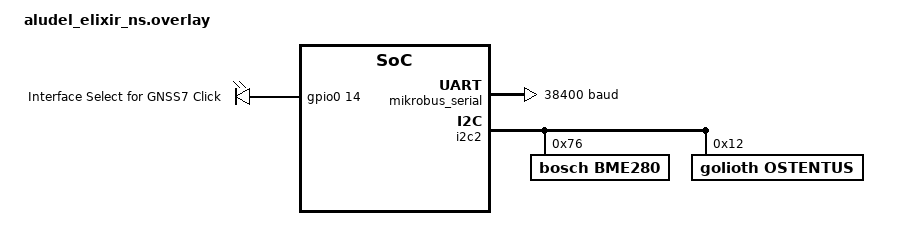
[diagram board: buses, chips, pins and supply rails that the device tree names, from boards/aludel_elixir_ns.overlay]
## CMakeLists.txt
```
# Copyright (c) 2022-2023 Golioth, Inc.
# SPDX-License-Identifier: Apache-2.0

cmake_minimum_required(VERSION 3.20.0)

find_package(Zephyr REQUIRED HINTS $ENV{ZEPHYR_BASE})

project(cold_chain)

include_directories(src/lib/inc)
add_compile_definitions(timegm=mktime)
target_sources(app PRIVATE src/lib/minmea/minmea.c)

target_sources(app PRIVATE src/main.c)
target_sources(app PRIVATE src/app_rpc.c)
target_sources(app PRIVATE src/app_settings.c)
target_sources(app PRIVATE src/app_state.c)
target_sources(app PRIVATE src/app_sensors.c)
```

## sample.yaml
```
# Copyright (c) 2022-2023 Golioth, Inc.
# SPDX-License-Identifier: Apache-2.0

sample:
  description: Golioth Cold Chain Tracker Reference Design
  name: cold_chain
common:
  harness: net
  platform_allow: >
    nrf9160dk_nrf9160_ns
  tags: golioth
```

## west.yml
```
# Copyright (c) 2022-2023 Golioth, Inc.
# SPDX-License-Identifier: Apache-2.0

manifest:
  version: 1.0

  projects:
    - name: golioth
      path: modules/lib/golioth-firmware-sdk
      revision: v0.21.0
      url: https://github.com/golioth/golioth-firmware-sdk.git
      west-commands: scripts/west-commands.yml
      submodules: true
      import:
        file: west-ncs.yml
        path-prefix: deps
        name-allowlist:
          - nrf
          - zephyr
          - cmsis_6
          - hal_nordic
          - mbedtls
          - mbedtls-nrf
          - mcuboot
          - net-tools
          - nrfxlib
          - oberon-psa-crypto
          - qcbor
          - segger
          - tfm-mcuboot
          - tinycrypt
          - trusted-firmware-m
          - zcbor

    - name: golioth-zephyr-boards
      path: deps/modules/lib/golioth-boards
      revision: v2.1.1
      url: https://github.com/golioth/golioth-zephyr-boards

    - name: libostentus
      path: deps/modules/lib/libostentus
      revision: v2.0.0
      url: https://github.com/golioth/libostentus

    - name: zephyr-network-info
      path: deps/modules/lib/network-info
      revision: v1.2.0
      url: https://github.com/golioth/zephyr-network-info

    - name: golioth-battery-monitor
      path: deps/modules/lib/battery-monitor
      revision: v1.1.0
      url: https://github.com/golioth/battery-monitor

    - name: minmea
      path: app/src/lib/minmea
      revision: 85439b97dd4984c5efb84ce954b85088e781dae8
      url: https://github.com/kosma/minmea.git

  self:
    path: app
```

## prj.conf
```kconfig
# Copyright (c) 2022-2023 Golioth, Inc.
# SPDX-License-Identifier: Apache-2.0

# Enable Golioth Firmware SDK
CONFIG_GOLIOTH_FIRMWARE_SDK=y

# Golioth services used in this app
CONFIG_GOLIOTH_FW_UPDATE=y
CONFIG_GOLIOTH_LIGHTDB_STATE=y
CONFIG_LOG_BACKEND_GOLIOTH=y
CONFIG_GOLIOTH_RPC=y
CONFIG_GOLIOTH_SETTINGS=y
CONFIG_GOLIOTH_STREAM=y

# Enable common sample library
CONFIG_GOLIOTH_SAMPLE_COMMON=y

# Configure Golioth SDK dependencies
CONFIG_ZVFS_EVENTFD_MAX=14
CONFIG_ZVFS_OPEN_MAX=23
CONFIG_LOG_PROCESS_THREAD_STACK_SIZE=1536
CONFIG_MBEDTLS_ENABLE_HEAP=y
CONFIG_MBEDTLS_HEAP_SIZE=10240
CONFIG_NETWORKING=y
CONFIG_NET_IPV4=y
CONFIG_COAP_EXTENDED_OPTIONS_LEN=y
CONFIG_COAP_EXTENDED_OPTIONS_LEN_VALUE=39

# Application
CONFIG_MAIN_STACK_SIZE=2048
CONFIG_NET_LOG=y
CONFIG_NET_SHELL=y
CONFIG_REBOOT=y
CONFIG_ZBUS=y

# Flash memory (etc.) for firmware upgrade
CONFIG_FLASH=y
CONFIG_FLASH_MAP=y
CONFIG_NVS=y
CONFIG_STREAM_FLASH=y
CONFIG_IMG_MANAGER=y
CONFIG_IMG_ERASE_PROGRESSIVELY=y
CONFIG_REBOOT=y

# The rest of the runtime credentials config
CONFIG_SETTINGS=y
CONFIG_SETTINGS_RUNTIME=y
CONFIG_GOLIOTH_SAMPLE_SETTINGS_AUTOLOAD=y
CONFIG_GOLIOTH_SAMPLE_SETTINGS_SHELL=y

# Misc.
CONFIG_JSON_LIBRARY=y

# Longer response length needed for network info
CONFIG_GOLIOTH_RPC_MAX_RESPONSE_LEN=512
CONFIG_I2C=y
CONFIG_SENSOR=y
CONFIG_GPIO=y

CONFIG_SERIAL=y
CONFIG_UART_INTERRUPT_DRIVEN=y

CONFIG_CBPRINTF_FP_SUPPORT=y
```

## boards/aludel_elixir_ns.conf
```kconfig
# Copyright (c) 2023 Golioth, Inc.
# SPDX-License-Identifier: Apache-2.0

# Battery Support
CONFIG_ALUDEL_BATTERY_MONITOR=y

# Turn on regulator to power click headers
CONFIG_REGULATOR=y

# Use a unique package name to use with Packages/Cohorts/Deployments
CONFIG_GOLIOTH_FW_UPDATE_PACKAGE_NAME="aludel_elixir"
```

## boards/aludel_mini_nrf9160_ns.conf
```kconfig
# Battery Support
CONFIG_ALUDEL_BATTERY_MONITOR=y

# Use a unique package name to use with Packages/Cohorts/Deployments
CONFIG_GOLIOTH_FW_UPDATE_PACKAGE_NAME="aludel_mini"
```

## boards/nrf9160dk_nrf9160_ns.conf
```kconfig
# Use a unique package name to use with Packages/Cohorts/Deployments
CONFIG_GOLIOTH_FW_UPDATE_PACKAGE_NAME="nrf9160dk"
```

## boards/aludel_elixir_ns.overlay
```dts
/ {
	aliases {
		gnss7-sel = &gnss7_sel;
	};

	gpio_logic {
		compatible = "gpio-leds";
		gnss7_sel: gnss7_sel {
			gpios = <&gpio0 14 GPIO_ACTIVE_HIGH>;
			label = "Interface Select for GNSS7 Click";
		};
	};
};

&mikrobus_serial {
	status = "okay";
	current-speed = <38400>;
};

&spi2 {
	status = "disabled";
};

&i2c2 {
	/* Needed for I2C writes used by libostentus */
	zephyr,concat-buf-size = <48>;

	bme280@76 {
		compatible = "bosch,bme280";
		reg = <0x76>;
	};

	ostentus@12 {
		status = "okay";
		compatible = "golioth,ostentus";
		reg = <0x12>;
	};
};
```

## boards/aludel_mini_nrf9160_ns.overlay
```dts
/ {
	aliases {
		gnss7-sel = &gnss7_sel;
	};

	gpio_logic {
		compatible = "gpio-leds";
		gnss7_sel: gnss7_sel {
			gpios = <&gpio0 14 GPIO_ACTIVE_HIGH>;
			label = "Interface Select for GNSS7 Click";
		};
	};
};

&mikrobus_serial {
	status = "okay";
	current-speed = <38400>;
};

&spi2 {
	status = "disabled";
};

&mikrobus_i2c {
	zephyr,concat-buf-size = <48>;

	bme280@76 {
		compatible = "bosch,bme280";
		reg = <0x76>;
	};

	ostentus@12 {
		status = "okay";
		compatible = "golioth,ostentus";
		reg = <0x12>;
	};
};
```

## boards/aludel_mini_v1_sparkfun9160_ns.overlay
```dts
/ {
	aliases {
		gnss7-sel = &gnss7_sel;
	};

	gpio_logic {
		compatible = "gpio-leds";
		gnss7_sel: gnss7_sel {
			gpios = <&gpio0 14 GPIO_ACTIVE_HIGH>;
			label = "Interface Select for GNSS7 Click";
		};
	};
};

&uart2 {
	status = "okay";
	current-speed = <38400>;
};

&spi2 {
	status = "disabled";
};

&i2c1 {
	zephyr,concat-buf-size = <48>;

	bme280@76 {
		compatible = "bosch,bme280";
		reg = <0x76>;
	};
};
```

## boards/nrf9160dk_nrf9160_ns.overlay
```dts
/ {
	aliases {
		click-uart = &arduino_serial;
		golioth-led = &led2;
		gnss7-sel = &gnss7_sel;
	};

	gpio_logic {
		compatible = "gpio-leds";
		gnss7_sel: gnss7_sel {
			gpios = <&gpio0 15 GPIO_ACTIVE_HIGH>;
			label = "Interface Select for GNSS7 Click";
		};
	};
};

&uart1 {
	status = "okay";
	current-speed = <38400>;
};


&arduino_i2c {
	/* Needed for I2C writes used by libostentus */
	zephyr,concat-buf-size = <48>;

	bme280@76 {
		compatible = "bosch,bme280";
		reg = <0x76>;
	};
};

&pinctrl {
	/*
	 * Arduino Uno provides the same SCL/SDA on two sets of pins, but the
	 * nRF9160-DK maps these pins to two different pairs of GPIO. When using
	 * the Arduino Uno Click Shield board, the P0.18/P0.19 pair must be used.
	 */
	i2c2_default: i2c2_default {
		group1 {
			psels = <NRF_PSEL(TWIM_SDA, 0, 18)>,
				<NRF_PSEL(TWIM_SCL, 0, 19)>;
		};
	};

	i2c2_sleep: i2c2_sleep {
		group1 {
			psels = <NRF_PSEL(TWIM_SDA, 0, 18)>,
				<NRF_PSEL(TWIM_SCL, 0, 19)>;
			low-power-enable;
		};
	};

	/*
	 * The default pin group includes RTS/CTS HW flow control, but the Arduino
	 * Uno Click Shield board does not connect these pins (only TX/RX are used).
	 * This keeps RX/TX on the same pins, but just removes RTS/CTS from the
	 * pin groups.
	 */
	uart1_default: uart1_default {
		group1 {
			psels = <NRF_PSEL(UART_TX, 0, 1)>,
				<NRF_PSEL(UART_RX, 0, 0)>;
		};
	};

	uart1_sleep: uart1_sleep {
		group1 {
			psels = <NRF_PSEL(UART_TX, 0, 1)>,
				<NRF_PSEL(UART_RX, 0, 0)>;
			low-power-enable;
		};
	};
};
```

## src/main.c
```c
/*
 * Copyright (c) 2022-2023 Golioth, Inc.
 *
 * SPDX-License-Identifier: Apache-2.0
 */

#include <zephyr/logging/log.h>
LOG_MODULE_REGISTER(golioth_cold_chain, LOG_LEVEL_DBG);

#include <app_version.h>
#include "app_rpc.h"
#include "app_settings.h"
#include "app_state.h"
#include "app_sensors.h"
#include <golioth/client.h>
#include <golioth/fw_update.h>
#include <samples/common/net_connect.h>
#include <samples/common/sample_credentials.h>
#include <zephyr/kernel.h>

#ifdef CONFIG_SOC_SERIES_NRF91X
#include <modem/lte_lc.h>
#endif
#ifdef CONFIG_LIB_OSTENTUS
#include <libostentus.h>
#include <libostentus_regmap.h>
static const struct device *o_dev = DEVICE_DT_GET_ANY(golioth_ostentus);
#endif
#ifdef CONFIG_ALUDEL_BATTERY_MONITOR
#include <battery_monitor.h>
#endif

#include <zephyr/drivers/gpio.h>

#ifdef CONFIG_MODEM_INFO
#include <modem/modem_info.h>
#endif

/* Current firmware version; update in VERSION */
static const char *_current_version =
	STRINGIFY(APP_VERSION_MAJOR) "." STRINGIFY(APP_VERSION_MINOR) "." STRINGIFY(APP_PATCHLEVEL);

static struct golioth_client *client;
K_SEM_DEFINE(connected, 0, 1);

static k_tid_t _system_thread = 0;

#if DT_NODE_EXISTS(DT_ALIAS(golioth_led))
static const struct gpio_dt_spec golioth_led = GPIO_DT_SPEC_GET(DT_ALIAS(golioth_led), gpios);
#endif /* DT_NODE_EXISTS(DT_ALIAS(golioth_led)) */
static const struct gpio_dt_spec user_btn = GPIO_DT_SPEC_GET(DT_ALIAS(sw1), gpios);
static struct gpio_callback button_cb_data;

/* forward declarations */
void golioth_connection_led_set(uint8_t state);

void wake_system_thread(void)
{
	k_wakeup(_system_thread);
}

static void on_client_event(struct golioth_client *client, enum golioth_client_event event,
			    void *arg)
{
	bool is_connected = (event == GOLIOTH_CLIENT_EVENT_CONNECTED);

	if (is_connected) {
		k_sem_give(&connected);
		golioth_connection_led_set(1);
	}
	LOG_INF("Golioth client %s", is_connected ? "connected" : "disconnected");
}

static void start_golioth_client(void)
{
	/* Get the client configuration from auto-loaded settings */
	const struct golioth_client_config *client_config = golioth_sample_credentials_get();

	/* Create and start a Golioth Client */
	client = golioth_client_create(client_config);

	/* Register Golioth on_connect callback */
	golioth_client_register_event_callback(client, on_client_event, NULL);

	/* Initialize DFU components */
	golioth_fw_update_init(client, _current_version);

	/*** Call Golioth APIs for other services in dedicated app files ***/

	/* Observe State service data */
	app_state_observe(client);

	/* Set Golioth Client for streaming sensor data */
	app_sensors_set_client(client);

	/* Register Settings service */
	app_settings_register(client);

	/* Register RPC service */
	app_rpc_register(client);
}

#ifdef CONFIG_SOC_SERIES_NRF91X

static void lte_handler(const struct lte_lc_evt *const evt)
{
	if (evt->type == LTE_LC_EVT_NW_REG_STATUS) {

		if ((evt->nw_reg_status == LTE_LC_NW_REG_REGISTERED_HOME) ||
		    (evt->nw_reg_status == LTE_LC_NW_REG_REGISTERED_ROAMING)) {

			/* Change the state of the Internet LED on Ostentus */
			IF_ENABLED(CONFIG_LIB_OSTENTUS, (ostentus_led_internet_set(o_dev, 1);));

			if (!client) {
				/* Create and start a Golioth Client */
				start_golioth_client();
			}
		}
	}
}

#endif /* CONFIG_SOC_SERIES_NRF91X */

#ifdef CONFIG_MODEM_INFO
static void log_modem_firmware_version(void)
{
	char sbuf[128];

	/* Initialize modem info */
	int err = modem_info_init();

	if (err) {
		LOG_ERR("Failed to initialize modem info: %d", err);
	}

	/* Log modem firmware version */
	modem_info_string_get(MODEM_INFO_FW_VERSION, sbuf, sizeof(sbuf));
	LOG_INF("Modem firmware version: %s", sbuf);
}
#endif

void button_pressed(const struct device *dev, struct gpio_callback *cb, uint32_t pins)
{
	LOG_DBG("Button pressed at %d", k_cycle_get_32());
	/* This function is an Interrupt Service Routine. Do not call functions that
	 * use other threads, or perform long-running operations here
	 */
	k_wakeup(_system_thread);
}

/* Set (unset) LED indicators for active Golioth connection */
void golioth_connection_led_set(uint8_t state)
{
	uint8_t pin_state = state ? 1 : 0;
	ARG_UNUSED(pin_state); /* silence warning if no LED/Ostentus present */

	/* Turn on Golioth logo LED once connected */
	IF_ENABLED(DT_NODE_EXISTS(DT_ALIAS(golioth_led)),
		(gpio_pin_set_dt(&golioth_led, pin_state);));

	/* Change the state of the Golioth LED on Ostentus */
	IF_ENABLED(CONFIG_LIB_OSTENTUS, (ostentus_led_golioth_set(o_dev, pin_state);));
}

int main(void)
{
	int err;

	LOG_DBG("Start Golioth Cold Chain Asset Tracker");

	LOG_INF("Firmware version: %s", _current_version);
	IF_ENABLED(CONFIG_MODEM_INFO, (log_modem_firmware_version();));

	app_sensors_init();

	/* Update Ostentus LEDS using bitmask (Power On and Battery)*/
	IF_ENABLED(CONFIG_LIB_OSTENTUS, (
		/* Reset Ostentus and pause for reboot */
		ostentus_reset(o_dev);
		k_msleep(300);

		/* Read firmware version from faceplate */
		char *o_version = (char *)calloc(32, sizeof(char));

		ostentus_version_get(o_dev, o_version, 32);
		LOG_INF("Ostentus reports firmware version: %s", o_version);
		free(o_version);

		/* Update Ostentus LEDS using bitmask (Power On and Battery) */
		ostentus_led_bitmask(o_dev, LED_POW | LED_BAT);

		/* Show Golioth Logo on Ostentus ePaper screen */
		ostentus_show_splash(o_dev);
	));

	/* Get system thread id so loop delay change event can wake main */
	_system_thread = k_current_get();

#if DT_NODE_EXISTS(DT_ALIAS(golioth_led))
	/* Initialize Golioth logo LED */
	err = gpio_pin_configure_dt(&golioth_led, GPIO_OUTPUT_INACTIVE);
	if (err) {
		LOG_ERR("Unable to configure LED for Golioth Logo");
	}
#endif /* #if DT_NODE_EXISTS(DT_ALIAS(golioth_led)) */

#ifdef CONFIG_SOC_SERIES_NRF91X
	/* Start LTE asynchronously if the nRF9160 is used.
	 * Golioth Client will start automatically when LTE connects
	 */

	LOG_INF("Connecting to LTE, this may take some time...");
	lte_lc_connect_async(lte_handler);

#else
	/* If nRF9160 is not used, start the Golioth Client and block until connected */

	/* Run WiFi/DHCP if necessary */
	if (IS_ENABLED(CONFIG_GOLIOTH_SAMPLE_COMMON)) {
		net_connect();
	}

	/* Start Golioth client */
	start_golioth_client();

	/* Block until connected to Golioth */
	k_sem_take(&connected, K_FOREVER);
#endif /* CONFIG_SOC_SERIES_NRF91X */

	/* Set up user button */
	err = gpio_pin_configure_dt(&user_btn, GPIO_INPUT);
	if (err) {
		LOG_ERR("Error %d: failed to configure %s pin %d", err, user_btn.port->name,
			user_btn.pin);
		return err;
	}

	err = gpio_pin_interrupt_configure_dt(&user_btn, GPIO_INT_EDGE_TO_ACTIVE);
	if (err) {
		LOG_ERR("Error %d: failed to configure interrupt on %s pin %d", err,
			user_btn.port->name, user_btn.pin);
		return err;
	}

	gpio_init_callback(&button_cb_data, button_pressed, BIT(user_btn.pin));
	gpio_add_callback(user_btn.port, &button_cb_data);

	IF_ENABLED(CONFIG_LIB_OSTENTUS,(
		/* Set up a slideshow on Ostentus
		 *  - add up to 256 slides
		 *  - use the enum in app_sensors.h to add new keys
		 *  - values are updated using these keys (see app_sensors.c)
		 */
		ostentus_slide_add(o_dev, SLIDE_LAT, LABEL_LAT, strlen(LABEL_LAT));
		ostentus_slide_add(o_dev, SLIDE_LON, LABEL_LON, strlen(LABEL_LON));
		ostentus_slide_add(o_dev, SLIDE_TEM, LABEL_TEM, strlen(LABEL_TEM));
		IF_ENABLED(CONFIG_ALUDEL_BATTERY_MONITOR, (
			ostentus_slide_add(o_dev,
					   BATTERY_V,
					   LABEL_BATTERY,
					   strlen(LABEL_BATTERY));
			ostentus_slide_add(o_dev,
					   BATTERY_PCT,
					   LABEL_BATTERY,
					   strlen(LABEL_BATTERY));
		));
		ostentus_slide_add(o_dev, FIRMWARE, LABEL_FIRMWARE, strlen(LABEL_FIRMWARE));

		/* Set the title of the Ostentus summary slide (optional) */
		ostentus_summary_title(o_dev, SUMMARY_TITLE, strlen(SUMMARY_TITLE));

		/* Update the Firmware slide with the firmware version */
		ostentus_slide_set(o_dev, FIRMWARE, (char *)_current_version,
			  strlen(_current_version));

		/* Start Ostentus slideshow with 30 second delay between slides */
		ostentus_slideshow(o_dev, 30000);
	));

	while (true) {
		app_sensors_read_and_stream();

		k_sleep(K_SECONDS(get_loop_delay_s()));
	}
}
```

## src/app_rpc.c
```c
/*
 * Copyright (c) 2022 Golioth, Inc.
 *
 * SPDX-License-Identifier: Apache-2.0
 */

#include <zephyr/logging/log.h>
#include <zephyr/logging/log_ctrl.h>
LOG_MODULE_REGISTER(app_rpc, LOG_LEVEL_DBG);

#include <net/golioth/system_client.h>
#include <net/golioth/rpc.h>
#include <zephyr/logging/log_ctrl.h>
#include <zephyr/sys/reboot.h>

#include <network_info.h>
#include "app_rpc.h"

static struct golioth_client *client;

static void reboot_work_handler(struct k_work *work)
{
	for (int8_t i = 5; i >= 0; i--) {
		if (i) {
			LOG_INF("Rebooting in %d seconds...", i);
		}
		k_sleep(K_SECONDS(1));
	}

	/* Sync logs before reboot */
	LOG_PANIC();

	sys_reboot(SYS_REBOOT_COLD);
}
K_WORK_DEFINE(reboot_work, reboot_work_handler);

static enum golioth_rpc_status on_get_network_info(zcbor_state_t *request_params_array,
						   zcbor_state_t *response_detail_map,
						   void *callback_arg)
{
	network_info_add_to_map(response_detail_map);

	return GOLIOTH_RPC_OK;
}

static enum golioth_rpc_status on_set_log_level(zcbor_state_t *request_params_array,
						zcbor_state_t *response_detail_map,
						void *callback_arg)
{
	double param_0;
	uint8_t log_level;
	bool ok;

	LOG_WRN("on_set_log_level");

	ok = zcbor_float_decode(request_params_array, &param_0);
	if (!ok) {
		LOG_ERR("Failed to decode array item");
		return GOLIOTH_RPC_INVALID_ARGUMENT;
	}

	log_level = (uint8_t)param_0;

	if ((log_level < 0) || (log_level > LOG_LEVEL_DBG)) {

		LOG_ERR("Requested log level is out of bounds: %d", log_level);
		return GOLIOTH_RPC_INVALID_ARGUMENT;
	}

	int source_id = 0;
	char *source_name;

	while (1) {
		source_name = (char *)log_source_name_get(0, source_id);
		if (source_name == NULL) {
			break;
		}

		log_filter_set(NULL, 0, source_id, log_level);
		++source_id;
	}

	LOG_WRN("Log levels for %d modules set to: %d", source_id, log_level);

	ok = zcbor_tstr_put_lit(response_detail_map, "log_modules") &&
	     zcbor_float64_put(response_detail_map, (double)source_id);

	return GOLIOTH_RPC_OK;
}

static enum golioth_rpc_status on_reboot(zcbor_state_t *request_params_array,
					 zcbor_state_t *response_detail_map,
					 void *callback_arg)
{
	/* Use work queue so this RPC can return confirmation to Golioth */
	k_work_submit(&reboot_work);

	return GOLIOTH_RPC_OK;
}

static void rpc_log_if_register_failure(int err)
{
	if (err) {
		LOG_ERR("Failed to register RPC: %d", err);
	}
}

int app_rpc_init(struct golioth_client *state_client)
{
	client = state_client;
	int err = app_rpc_register(client);
	return err;
}

int app_rpc_observe(void)
{
	int err = golioth_rpc_observe(client);

	if (err) {
		LOG_ERR("Failed to observe RPC: %d", err);
	}
	return err;
}

int app_rpc_register(struct golioth_client *rpc_client)
{
	int err;

	err = golioth_rpc_register(rpc_client, "get_network_info", on_get_network_info, NULL);
	rpc_log_if_register_failure(err);

	err = golioth_rpc_register(rpc_client, "reboot", on_reboot, NULL);
	rpc_log_if_register_failure(err);

	err = golioth_rpc_register(rpc_client, "set_log_level", on_set_log_level, NULL);
	rpc_log_if_register_failure(err);

	return err;
}
```

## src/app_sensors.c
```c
/*
 * Copyright (c) 2022-2023 Golioth, Inc.
 *
 * SPDX-License-Identifier: Apache-2.0
 */

#include <zephyr/logging/log.h>
LOG_MODULE_REGISTER(app_sensors, LOG_LEVEL_DBG);

#include <golioth/client.h>
#include <golioth/stream.h>
#include <zephyr/device.h>
#include <zephyr/drivers/gpio.h>
#include <zephyr/kernel.h>
#include <zephyr/drivers/sensor.h>
#include <zephyr/drivers/uart.h>
#include <zephyr/zbus/zbus.h>

#include "app_sensors.h"
#include "app_settings.h"
#include "lib/minmea/minmea.h"
#include <stdio.h>
#include <stdlib.h>

#ifdef CONFIG_LIB_OSTENTUS
#include <libostentus.h>
static const struct device *o_dev = DEVICE_DT_GET_ANY(golioth_ostentus);
#endif
#ifdef CONFIG_ALUDEL_BATTERY_MONITOR
#include <battery_monitor.h>
#endif

#define UART_DEVICE_NODE DT_ALIAS(click_uart)
static const struct device *const uart_dev = DEVICE_DT_GET(UART_DEVICE_NODE);

#define UART_SEL DT_ALIAS(gnss7_sel)
static const struct gpio_dt_spec gnss7_sel = GPIO_DT_SPEC_GET(UART_SEL, gpios);

#define MAX_BATCH_STREAM_SIZE 1000
#define MIN_REMAINING_FOR_BATCH_UPLOAD 128
#define NMEA_SIZE 128

/* Max number of parsed readings to queue between uploads (96 bytes each) */
#define MAX_QUEUED_DATA 500
#define GPS_BATCH_STREAM_TIMEOUT_S 2

/* GPS stream endpoint on Golioth */
#define GPS_ENDP "gps"

struct weather_data {
	struct sensor_value tem;
	struct sensor_value pre;
	struct sensor_value hum;
};

struct cold_chain_data {
	struct weather_data weather;
	struct minmea_sentence_rmc frame;
};

#define ERROR_VAL1 999
#define ERROR_VAL2 999999

ZBUS_CHAN_DEFINE(weather_chan, struct weather_data, NULL, NULL, ZBUS_OBS_DECLARE(),
		 ZBUS_MSG_INIT(.tem.val1 = ERROR_VAL1, .tem.val2 = ERROR_VAL2,
			       .pre.val1 = ERROR_VAL1, .pre.val2 = ERROR_VAL2,
			       .hum.val1 = ERROR_VAL1, .hum.val2 = ERROR_VAL2));

static const struct sensor_value reading_error = {.val1 = ERROR_VAL1, .val2 = ERROR_VAL2};

/* Processed data waiting to be sent to Golioth */
K_MSGQ_DEFINE(coldchain_msgq, sizeof(struct cold_chain_data), MAX_QUEUED_DATA, 4);

static char rx_buf[NMEA_SIZE];
static int rx_buf_pos;

static struct golioth_client *client;
/* Add Sensor structs here */
const struct device *weather_dev;

/* Thread reads weather sensor and publishes latest data on zbus */
K_SEM_DEFINE(bme280_initialized_sem, 0, 1); /* Wait until sensor is ready */

void weather_sensor_data_fetch(void)
{
	int err;

	err = sensor_sample_fetch(weather_dev);
	if (err != 0) {
		LOG_ERR("Failed to fetch sensor data: %d", err);
		return;
	}

	struct weather_data reading;

	err = sensor_channel_get(weather_dev, SENSOR_CHAN_AMBIENT_TEMP, &reading.tem);
	if (err != 0) {
		LOG_ERR("Failed to get sensor channel %u: %d", SENSOR_CHAN_AMBIENT_TEMP, err);
		return;
	}

	err = sensor_channel_get(weather_dev, SENSOR_CHAN_PRESS, &reading.pre);
	if (err != 0) {
		LOG_ERR("Failed to get sensor channel %u: %d", SENSOR_CHAN_PRESS, err);
		return;
	}

	err = sensor_channel_get(weather_dev, SENSOR_CHAN_HUMIDITY, &reading.hum);
	if (err != 0) {
		LOG_ERR("Failed to get sensor channel %u: %d", SENSOR_CHAN_HUMIDITY, err);
		return;
	}

	err = zbus_chan_pub(&weather_chan, &reading, K_MSEC(100));
	if (err != 0) {
		LOG_ERR("Failed to publish sensor data: %d", err);
		return;
	}
}

#define WEATHER_STACK 1024

extern void weather_sensor_thread(void *d0, void *d1, void *d2)
{
	/* Block until sensor is available */
	k_sem_take(&bme280_initialized_sem, K_FOREVER);
	while (1) {
		weather_sensor_data_fetch();
		k_sleep(K_SECONDS(1));
	}
}

K_THREAD_DEFINE(weather_sensor_tid, WEATHER_STACK, weather_sensor_thread, NULL, NULL, NULL,
		K_LOWEST_APPLICATION_THREAD_PRIO, 0, 0);

/** @brief Check if a given time delay has passed
 *
 * The stored start time is used to generate a delta time from the system clock. If the delta time
 * is smaller than the given delay, this function returns false. If the result is true, the stored
 * value may be replaced by the current system time using the update param.
 *
 * @param stored_start_time stored system time in ms used as start time
 * @param delay_s delay (in seconds)
 * @param update_stored_time if function if returning true, this enables current time to replace the
 * stored time value.
 *
 * @return true if gps_delay_s has passed since last GPS reading, otherwise false
 */
static bool target_time_elapsed(uint64_t *stored_start_time, uint32_t delay_s,
				bool update_stored_time)
{
	uint64_t wait_for = *stored_start_time;

	if (k_uptime_delta(&wait_for) >= ((uint64_t)delay_s * 1000)) {
		if (update_stored_time) {
			/* wait_for now contains the current timestamp. Store this for the next
			 * reading.
			 */
			*stored_start_time = wait_for; }
		return true;
	}
	return false;
}

#ifdef CONFIG_LIB_OSTENTUS
static void update_ostentus_gps(float lat, float lon, char *tem_str, char tem_len)
{
	char lat_str[12];
	char lon_str[12];

	snprintk(lat_str, sizeof(lat_str), "%f", (double) lat);
	snprintk(lon_str, sizeof(lon_str), "%f", (double) lon);

	ostentus_slide_set(o_dev, SLIDE_LAT, lat_str, strlen(lat_str));
	ostentus_slide_set(o_dev, SLIDE_LON, lon_str, strlen(lon_str));
	ostentus_slide_set(o_dev, SLIDE_TEM, tem_str, tem_len);
}
#endif

/* Raw string data waiting for the NMEA parser to run */
K_MSGQ_DEFINE(reading_msgq, NMEA_SIZE, 16, 4);

#define PARSER_STACK 1024

extern void nmea_parser_thread(void *d0, void *d1, void *d2)
{
	char raw_readings[NMEA_SIZE];
	enum minmea_sentence_id sid;
	bool sat_lock = false;
	int err;

	/* timestamp when the previous GPS value was stored */
	uint64_t last_gps = 0;

	/* timestamp when the previous satellite lock message was sent */
	uint64_t last_sat_msg = 0;

	while (1) {
		k_msgq_get(&reading_msgq, &raw_readings, K_FOREVER);
		sid = minmea_sentence_id(raw_readings, false);

		if (!sat_lock && sid == MINMEA_SENTENCE_GSV) {

			if (target_time_elapsed(&last_sat_msg, 3, true)) {
				struct minmea_sentence_gsv lock_frame;

				minmea_parse_gsv(&lock_frame, raw_readings);
				LOG_INF("Awaiting GPS lock. Satellite count: %d",
					lock_frame.total_sats);
			}
		}

		if (sid != MINMEA_SENTENCE_RMC) {
			/* We only care about RMC sentences because that's the data we need */
			continue;
		}

		struct cold_chain_data cc_data;
		bool success = minmea_parse_rmc(&cc_data.frame, raw_readings);

		if (!success) {
			/* Failed to partse NMEA sentence */
			continue;
		}

		sat_lock = cc_data.frame.valid;

		if (!sat_lock) {
			continue;
		}

		if (!target_time_elapsed(&last_gps, get_gps_delay_s(), true)) {
			/* gps_delay_s has not elapsed since last reading */
			continue;
		}

		err = zbus_chan_read(&weather_chan, &cc_data.weather, K_MSEC(50));
		if (err) {
			LOG_ERR("Cannot access weather data: %d", err);
			/* Use an obvious error value so these are not used uninitialized */
			cc_data.weather.tem = reading_error;
			cc_data.weather.pre = reading_error;
			cc_data.weather.hum = reading_error;
		}

		err = k_msgq_put(&coldchain_msgq, &cc_data, K_MSEC(1));

		if (err) {
			LOG_ERR("Unable to queue parsed coldchain data: %d", err);
		} else {
			char tem_str[12];

			snprintk(tem_str, sizeof(tem_str), "%d.%02dc", cc_data.weather.tem.val1,
				 cc_data.weather.tem.val2 / 10000);

			LOG_DBG("nmea: %s t: %s", raw_readings, tem_str);

			IF_ENABLED(CONFIG_LIB_OSTENTUS, (
				update_ostentus_gps(minmea_tocoord(&cc_data.frame.latitude),
						    minmea_tocoord(&cc_data.frame.longitude),
						    tem_str, strlen(tem_str));
			));

			uint32_t msg_cnt = k_msgq_num_used_get(&coldchain_msgq);

			if (msg_cnt > 0 && (msg_cnt % 5 == 0)) {
				LOG_INF("%d readings queued; %d slots remain", msg_cnt,
					MAX_QUEUED_DATA - msg_cnt);
			}
		}
	}
}

K_THREAD_DEFINE(nmea_parser_tid, PARSER_STACK, nmea_parser_thread, NULL, NULL, NULL,
		K_LOWEST_APPLICATION_THREAD_PRIO, 0, 0);

/* UART callback */
void serial_cb(const struct device *dev, void *user_data)
{
	uint8_t c;

	if (!uart_irq_update(uart_dev)) {
		return;
	}

	while (uart_irq_rx_ready(uart_dev)) {

		uart_fifo_read(uart_dev, &c, 1);

		if ((c == '\n') && rx_buf_pos > 0) {
			/* terminate string */
			if (rx_buf_pos == (NMEA_SIZE - 1)) {
				rx_buf[rx_buf_pos] = '\0';
			} else {
				rx_buf[rx_buf_pos] = '\n';
				rx_buf[rx_buf_pos + 1] = '\0';
			}

			if (k_msgq_put(&reading_msgq, &rx_buf, K_NO_WAIT) != 0) {
				LOG_ERR("Message queue full, dropping reading.");
			}

			/* reset the buffer (it was copied to the msgq) */
			rx_buf_pos = 0;
		} else if (rx_buf_pos < (sizeof(rx_buf) - 1)) {
			rx_buf[rx_buf_pos++] = c;
		}
		/* else: characters beyond buffer size are dropped */
	}
}

/*
 * Get a device structure from a devicetree node with compatible
 * "bosch,bme280". (If there are multiple, just pick one.)
 */
static const struct device *get_bme280_device(void)
{
	const struct device *const bme_dev = DEVICE_DT_GET_ANY(bosch_bme280);

	if (bme_dev == NULL) {
		/* No such node, or the node does not have status "okay". */
		LOG_ERR("\nError: no device found.");
		return NULL;
	}

	if (!device_is_ready(bme_dev)) {
		LOG_ERR("Error: Device \"%s\" is not ready; "
			"check the driver initialization logs for errors.",
			bme_dev->name);
		return NULL;
	}

	LOG_DBG("Found device \"%s\", getting sensor data", bme_dev->name);

	/* Give semaphore to signal sensor is ready for reading */
	k_sem_give(&bme280_initialized_sem);
	return bme_dev;
}

static void get_sensor_string_or_empty(struct sensor_value v, char *buf, uint8_t buf_len, char *key)
{
	if ((v.val1 == reading_error.val1) && (v.val2 == reading_error.val2)) {
		buf[0] = '\0';
	} else {
		snprintk(buf, buf_len, ",\"%s\":%d.%06d", key, v.val1, abs(v.val2));
	}
}

static void batch_upload_to_golioth(void)
{
	uint32_t msg_cnt = k_msgq_num_used_get(&coldchain_msgq);

	if (msg_cnt == 0) {
		return;
	}

	LOG_INF("Uploading cached data to Golioth");

	/* Packets will be no larger than 1024 characters
	 *
	 * {"lat":-90.123456,"lon":-180.123456,"time":"2023-09-18T22:52:42.000Z","tem":-100.123456,
	 *  "pre":-100.123456,"hum":-100.123456}"
	 *
	 * Round up for the comma, and overall open/close bracket.
	 * Size the overall buffer to be smaller than 1024 which is most efficient for Golioth
	 */
	static const char r_fmt[] = "{\"lat\":%f,\"lon\":%f,\""
				    "time\":\"20%02d-%02d-%02dT%02d:%02d:%02d.%03dZ\""
				    "%s%s%s}";
	uint16_t remaining_len;
	uint16_t tot_pushed = 0;
	struct cold_chain_data cached_data;

	char *buf = (char *) malloc(sizeof(char) * MAX_BATCH_STREAM_SIZE);

	if (!buf) {
		LOG_ERR("Enable to allocate memory for batch upload");
		return;
	}

	snprintk(buf, MAX_BATCH_STREAM_SIZE, "%s", "[");

	while (msg_cnt > 0) {
		int err = k_msgq_get(&coldchain_msgq, &cached_data, K_MSEC(10));

		if (err) {
			LOG_ERR("Error fetching cached reading: %d", err);
			goto free_after_stream;
		}

		char tem_str[19], pre_str[19], hum_str[19];

		get_sensor_string_or_empty(cached_data.weather.tem, tem_str, sizeof(tem_str),
					   "tem");
		get_sensor_string_or_empty(cached_data.weather.pre, pre_str, sizeof(pre_str),
					   "pre");
		get_sensor_string_or_empty(cached_data.weather.hum, hum_str, sizeof(hum_str),
					   "hum");

		snprintk(buf + strlen(buf), MAX_BATCH_STREAM_SIZE - strlen(buf), r_fmt,
			 (double) minmea_tocoord(&cached_data.frame.latitude),
			 (double) minmea_tocoord(&cached_data.frame.longitude),
			 cached_data.frame.date.year, cached_data.frame.date.month,
			 cached_data.frame.date.day, cached_data.frame.time.hours,
			 cached_data.frame.time.minutes, cached_data.frame.time.seconds,
			 cached_data.frame.time.microseconds,
			 tem_str, pre_str, hum_str);

		msg_cnt = k_msgq_num_used_get(&coldchain_msgq);
		remaining_len = MAX_BATCH_STREAM_SIZE - strlen(buf) - 1;
		tot_pushed++;

		if (msg_cnt == 0 || remaining_len < MIN_REMAINING_FOR_BATCH_UPLOAD) {
			snprintk(buf + strlen(buf), MAX_BATCH_STREAM_SIZE - strlen(buf), "%s", "]");

			int err = golioth_stream_set_sync(client,
							  GPS_ENDP,
							  GOLIOTH_CONTENT_TYPE_JSON,
							  buf,
							  strlen(buf),
							  GPS_BATCH_STREAM_TIMEOUT_S);

			if (err) {
				LOG_ERR("Failed to send sensor data to Golioth: %d", err);
				goto free_after_stream;
			}

			if (msg_cnt) {
				snprintk(buf, MAX_BATCH_STREAM_SIZE, "%s", "[");
			}
		} else {
			snprintk(buf + strlen(buf), MAX_BATCH_STREAM_SIZE - strlen(buf), "%s", ",");
		}
	}

	LOG_INF("Pushed %d cached readings up to Golioth.", tot_pushed);

free_after_stream:
	free(buf);

}

/* This will be called by the main() loop */
/* Do all of your work here! */
void app_sensors_read_and_stream(void)
{
	/* Golioth custom hardware for demos */
	IF_ENABLED(CONFIG_ALUDEL_BATTERY_MONITOR, (
		read_and_report_battery(client);
		IF_ENABLED(CONFIG_LIB_OSTENTUS, (
			ostentus_slide_set(o_dev,
					   BATTERY_V,
					   get_batt_v_str(),
					   strlen(get_batt_v_str()));
			ostentus_slide_set(o_dev,
					   BATTERY_PCT,
					   get_batt_pct_str(),
					   strlen(get_batt_pct_str()));
		));
	));

	if (golioth_client_is_connected(client)) {
		batch_upload_to_golioth();
	}
}

void app_sensors_set_client(struct golioth_client *sensors_client)
{
	client = sensors_client;
}

void app_sensors_init(void)
{
	LOG_INF("Initializing UART");

	int err = gpio_pin_configure_dt(&gnss7_sel, GPIO_OUTPUT_ACTIVE);

	if (err < 0) {
		LOG_ERR("Unable to configure GNSS SEL Pin: %d", err);
	}

	/* configure interrupt and callback to receive data */
	uart_irq_callback_user_data_set(uart_dev, serial_cb, NULL);
	uart_irq_rx_enable(uart_dev);

	weather_dev = get_bme280_device();
	weather_sensor_data_fetch();
}
```

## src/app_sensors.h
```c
/*
 * Copyright (c) 2022-2023 Golioth, Inc.
 *
 * SPDX-License-Identifier: Apache-2.0
 */

#ifndef __APP_SENSORS_H__
#define __APP_SENSORS_H__

#include <golioth/client.h>

void app_sensors_set_client(struct golioth_client *sensors_client);
void app_sensors_read_and_stream(void);
void app_sensors_init(void);

#define LABEL_LAT	"Latitude"
#define LABEL_LON	"Longitude"
#define LABEL_TEM	"Temperature"
#define LABEL_BATTERY	"Battery"
#define LABEL_FIRMWARE	"Firmware"
#define SUMMARY_TITLE	"Cold Chain"

/**
 * Each Ostentus slide needs a unique key. You may add additional slides by
 * inserting elements with the name of your choice to this enum.
 */
typedef enum {
	SLIDE_LAT,
	SLIDE_LON,
	SLIDE_TEM,
#ifdef CONFIG_ALUDEL_BATTERY_MONITOR
	BATTERY_V,
	BATTERY_PCT,
#endif
	FIRMWARE
} slide_key;

#endif /* __APP_SENSORS_H__ */
```

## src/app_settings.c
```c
/*
 * Copyright (c) 2022-2023 Golioth, Inc.
 *
 * SPDX-License-Identifier: Apache-2.0
 */

#include <zephyr/logging/log.h>
LOG_MODULE_REGISTER(app_settings, LOG_LEVEL_DBG);

#include <golioth/client.h>
#include <golioth/settings.h>
#include "main.h"
#include "app_settings.h"

/* How long to wait between uploading to Golioth */
static int32_t _loop_delay_s = 5;
#define LOOP_DELAY_S_MAX 43200
#define LOOP_DELAY_S_MIN 1

/* How long to wait between GPS readings */
static int32_t _gps_delay_s = 3;
#define GPS_DELAY_S_MAX 43200
#define GPS_DELAY_S_MIN 0

int32_t get_loop_delay_s(void)
{
	return _loop_delay_s;
}

int32_t get_gps_delay_s(void) {
	return _gps_delay_s;
}

static enum golioth_settings_status on_loop_delay_setting(int32_t new_value, void *arg)
{
	/* Only update if value has changed */
	if (_loop_delay_s == new_value) {
		LOG_DBG("Received LOOP_DELAY_S already matches local value.");
		return GOLIOTH_SETTINGS_SUCCESS;
	}

	_loop_delay_s = new_value;
	LOG_INF("Set loop delay to %i seconds", new_value);
	wake_system_thread();
	return GOLIOTH_SETTINGS_SUCCESS;
}

static enum golioth_settings_status on_gps_delay_setting(int32_t new_value, void *arg)
{
	/* Only update if value has changed */
	if (_gps_delay_s == new_value) {
		LOG_DBG("Received GPS_DELAY_S already matches local value.");
		return GOLIOTH_SETTINGS_SUCCESS;
	}

	_gps_delay_s = new_value;
	LOG_INF("Set gps delay to %i seconds", new_value);
	wake_system_thread();
	return GOLIOTH_SETTINGS_SUCCESS;
}

void app_settings_register(struct golioth_client *client)
{
	struct golioth_settings *settings = golioth_settings_init(client);

	int err = golioth_settings_register_int_with_range(settings,
							   "LOOP_DELAY_S",
							   LOOP_DELAY_S_MIN,
							   LOOP_DELAY_S_MAX,
							   on_loop_delay_setting,
							   NULL);

	if (err) {
		LOG_ERR("Failed to register settings callback: %d", err);
	}

	err = golioth_settings_register_int_with_range(settings,
							   "GPS_DELAY_S",
							   GPS_DELAY_S_MIN,
							   GPS_DELAY_S_MAX,
							   on_gps_delay_setting,
							   NULL);

	if (err) {
		LOG_ERR("Failed to register settings callback: %d", err);
	}
}
```

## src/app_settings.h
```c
/*
 * Copyright (c) 2022-2023 Golioth, Inc.
 *
 * SPDX-License-Identifier: Apache-2.0
 */

#ifndef __APP_SETTINGS_H__
#define __APP_SETTINGS_H__

#include <stdint.h>
#include <golioth/client.h>

int32_t get_loop_delay_s(void);
int32_t get_gps_delay_s(void);
void app_settings_register(struct golioth_client *client);

#endif /* __APP_SETTINGS_H__ */
```

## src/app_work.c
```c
/*
 * Copyright (c) 2022 Golioth, Inc.
 *
 * SPDX-License-Identifier: Apache-2.0
 */

#include <zephyr/logging/log.h>
LOG_MODULE_REGISTER(app_work, LOG_LEVEL_DBG);

#include <net/golioth/system_client.h>
#include <zephyr/device.h>
#include <zephyr/drivers/gpio.h>
#include <zephyr/drivers/sensor.h>
#include <zephyr/drivers/uart.h>

#include "app_work.h"
#include "app_settings.h"
#include "lib/minmea/minmea.h"
#include <stdio.h>
#include <stdlib.h>

#ifdef CONFIG_LIB_OSTENTUS
#include <libostentus.h>
#endif
#ifdef CONFIG_ALUDEL_BATTERY_MONITOR
#include "battery_monitor/battery.h"
#endif

#define UART_DEVICE_NODE DT_ALIAS(click_uart)
static const struct device *const uart_dev = DEVICE_DT_GET(UART_DEVICE_NODE);

#define UART_SEL DT_ALIAS(gnss7_sel)
static const struct gpio_dt_spec gnss7_sel = GPIO_DT_SPEC_GET(UART_SEL, gpios);

#define NMEA_SIZE 128

/* Max number of parsed readings to queue between uploads (96 bytes each) */
#define MAX_QUEUED_DATA 500

/* GPS stream endpoint on Golioth */
#define GPS_ENDP "gps"

struct cold_chain_data {
	struct sensor_value tem;
	struct sensor_value pre;
	struct sensor_value hum;
	struct minmea_sentence_rmc frame;
};

struct weather_data {
	struct sensor_value tem;
	struct sensor_value pre;
	struct sensor_value hum;
};

#define ERROR_VAL1 999
#define ERROR_VAL2 999999
static const struct sensor_value reading_error = {
	.val1 = ERROR_VAL1,
	.val2 = ERROR_VAL2
};

/* Global to hold BME280 readings; updated at 1 Hz by thread */
struct weather_data _latest_weather_data = {
	.tem.val1 = ERROR_VAL1, .tem.val2 = ERROR_VAL2,
	.pre.val1 = ERROR_VAL1, .pre.val2 = ERROR_VAL2,
	.hum.val1 = ERROR_VAL1, .hum.val2 = ERROR_VAL2,
};

/* Processed data waiting to be sent to Golioth */
K_MSGQ_DEFINE(coldchain_msgq, sizeof(struct cold_chain_data), MAX_QUEUED_DATA, 4);

static char rx_buf[NMEA_SIZE];
static int rx_buf_pos;

static struct golioth_client *client;
/* Add Sensor structs here */
const struct device *weather_dev;

/* Thread reads weather sensor and provides easy access to latest data */
K_MUTEX_DEFINE(weather_mutex);		    /* Protect data */
K_SEM_DEFINE(bme280_initialized_sem, 0, 1); /* Wait until sensor is ready */

void weather_sensor_data_fetch(void)
{
	if (!weather_dev) {
		_latest_weather_data.tem = reading_error;
		_latest_weather_data.pre = reading_error;
		_latest_weather_data.hum = reading_error;
		return;
	}
	sensor_sample_fetch(weather_dev);
	k_mutex_lock(&weather_mutex, K_FOREVER);

	sensor_channel_get(weather_dev, SENSOR_CHAN_AMBIENT_TEMP, &_latest_weather_data.tem);
	sensor_channel_get(weather_dev, SENSOR_CHAN_PRESS, &_latest_weather_data.pre);
	sensor_channel_get(weather_dev, SENSOR_CHAN_HUMIDITY, &_latest_weather_data.hum);

	k_mutex_unlock(&weather_mutex);
}

#define WEATHER_STACK 1024

extern void weather_sensor_thread(void *d0, void *d1, void *d2)
{
	/* Block until sensor is available */
	k_sem_take(&bme280_initialized_sem, K_FOREVER);
	while (1) {
		weather_sensor_data_fetch();
		k_sleep(K_SECONDS(1));
	}
}

K_THREAD_DEFINE(weather_sensor_tid, WEATHER_STACK, weather_sensor_thread, NULL, NULL, NULL,
		K_LOWEST_APPLICATION_THREAD_PRIO, 0, 0);

/** @brief Check if a given time delay has passed
 *
 * The stored start time is used to generate a delta time from the system clock. If the delta time
 * is smaller than the given delay, this function returns false. If the result is true, the stored
 * value may be replaced by the current system time using the update param.
 *
 * @param stored_start_time stored system time in ms used as start time
 * @param delay_s delay (in seconds)
 * @param update_stored_time if function if returning true, this enables current time to replace the
 * stored time value.
 *
 * @return true if gps_delay_s has passed since last GPS reading, otherwise false
 */
static bool target_time_elapsed(uint64_t *stored_start_time, uint32_t delay_s,
				bool update_stored_time)
{
	uint64_t wait_for = *stored_start_time;

	if (k_uptime_delta(&wait_for) >= ((uint64_t)delay_s * 1000)) {
		if (update_stored_time) {
			/* wait_for now contains the current timestamp. Store this for the next
			 * reading.
			 */
			*stored_start_time = wait_for; }
		return true;
	}
	return false;
}

#ifdef CONFIG_LIB_OSTENTUS
static void update_ostentus_gps(float lat, float lon, char *tem_str, char tem_len)
{
	char lat_str[12];
	char lon_str[12];

	snprintk(lat_str, sizeof(lat_str), "%f", lat);
	snprintk(lon_str, sizeof(lon_str), "%f", lon);

	slide_set(SLIDE_LAT, lat_str, strlen(lat_str));
	slide_set(SLIDE_LON, lon_str, strlen(lon_str));
	slide_set(SLIDE_TEM, tem_str, tem_len);
}
#endif

/* Raw string data waiting for the NMEA parser to run */
K_MSGQ_DEFINE(reading_msgq, NMEA_SIZE, 16, 4);

#define PARSER_STACK 1024

extern void nmea_parser_thread(void *d0, void *d1, void *d2)
{
	char raw_readings[NMEA_SIZE];
	enum minmea_sentence_id sid;
	bool sat_lock = false;
	int err;

	/* timestamp when the previous GPS value was stored */
	uint64_t last_gps = 0;

	/* timestamp when the previous satellite lock message was sent */
	uint64_t last_sat_msg = 0;

	while (1) {
		k_msgq_get(&reading_msgq, &raw_readings, K_FOREVER);
		sid = minmea_sentence_id(raw_readings, false);

		if (!sat_lock && sid == MINMEA_SENTENCE_GSV) {

			if (target_time_elapsed(&last_sat_msg, 3, true)) {
				struct minmea_sentence_gsv lock_frame;

				minmea_parse_gsv(&lock_frame, raw_readings);
				LOG_INF("Awaiting GPS lock. Satellite count: %d",
					lock_frame.total_sats);
			}
		}

		if (sid != MINMEA_SENTENCE_RMC) {
			/* We only care about RMC sentences because that's the data we need */
			continue;
		}

		struct cold_chain_data cc_data;
		bool success = minmea_parse_rmc(&cc_data.frame, raw_readings);

		if (!success) {
			/* Failed to partse NMEA sentence */
			continue;
		}

		sat_lock = cc_data.frame.valid;

		if (!sat_lock) {
			continue;
		}

		if (!target_time_elapsed(&last_gps, get_gps_delay_s(), true)) {
			/* gps_delay_s has not elapsed since last reading */
			continue;
		}

		err = k_mutex_lock(&weather_mutex, K_MSEC(50));

		if (err) {
			LOG_ERR("Cannot access weather data: %d", err);
			/* Use an obvious error value so these are not used uninitialized */
			cc_data.tem = reading_error;
			cc_data.pre = reading_error;
			cc_data.hum = reading_error;
		} else {
			cc_data.tem = _latest_weather_data.tem;
			cc_data.pre = _latest_weather_data.pre;
			cc_data.hum = _latest_weather_data.hum;
			k_mutex_unlock(&weather_mutex);
		}

		err = k_msgq_put(&coldchain_msgq, &cc_data, K_MSEC(1));

		if (err) {
			LOG_ERR("Unable to queue parsed coldchain data: %d", err);
		} else {
			char tem_str[12];

			snprintk(tem_str, sizeof(tem_str), "%d.%02dc",
				 cc_data.tem.val1,
				 cc_data.tem.val2 / 10000);

			LOG_DBG("nmea: %s t: %s", raw_readings, tem_str);

			IF_ENABLED(CONFIG_LIB_OSTENTUS, (
				update_ostentus_gps(minmea_tocoord(&cc_data.frame.latitude),
						    minmea_tocoord(&cc_data.frame.longitude),
						    tem_str, strlen(tem_str));
			));

			uint32_t msg_cnt = k_msgq_num_used_get(&coldchain_msgq);

			if (msg_cnt > 0 && (msg_cnt % 5 == 0)) {
				LOG_INF("%d readings queued; %d slots remain", msg_cnt,
					MAX_QUEUED_DATA - msg_cnt);
			}
		}
	}
}

K_THREAD_DEFINE(nmea_parser_tid, PARSER_STACK, nmea_parser_thread, NULL, NULL, NULL,
		K_LOWEST_APPLICATION_THREAD_PRIO, 0, 0);

/* UART callback */
void serial_cb(const struct device *dev, void *user_data)
{
	uint8_t c;

	if (!uart_irq_update(uart_dev)) {
		return;
	}

	while (uart_irq_rx_ready(uart_dev)) {

		uart_fifo_read(uart_dev, &c, 1);

		if ((c == '\n') && rx_buf_pos > 0) {
			/* terminate string */
			if (rx_buf_pos == (NMEA_SIZE - 1)) {
				rx_buf[rx_buf_pos] = '\0';
			} else {
				rx_buf[rx_buf_pos] = '\n';
				rx_buf[rx_buf_pos + 1] = '\0';
			}

			if (k_msgq_put(&reading_msgq, &rx_buf, K_NO_WAIT) != 0) {
				LOG_ERR("Message queue full, dropping reading.");
			}

			/* reset the buffer (it was copied to the msgq) */
			rx_buf_pos = 0;
		} else if (rx_buf_pos < (sizeof(rx_buf) - 1)) {
			rx_buf[rx_buf_pos++] = c;
		}
		/* else: characters beyond buffer size are dropped */
	}
}

/*
 * Get a device structure from a devicetree node with compatible
 * "bosch,bme280". (If there are multiple, just pick one.)
 */
static const struct device *get_bme280_device(void)
{
	const struct device *const bme_dev = DEVICE_DT_GET_ANY(bosch_bme280);

	if (bme_dev == NULL) {
		/* No such node, or the node does not have status "okay". */
		LOG_ERR("\nError: no device found.");
		return NULL;
	}

	if (!device_is_ready(bme_dev)) {
		LOG_ERR("Error: Device \"%s\" is not ready; "
			"check the driver initialization logs for errors.",
			bme_dev->name);
		return NULL;
	}

	LOG_DBG("Found device \"%s\", getting sensor data", bme_dev->name);

	/* Give semaphore to signal sensor is ready for reading */
	k_sem_give(&bme280_initialized_sem);
	return bme_dev;
}

static void get_sensor_string_or_empty(struct sensor_value v, char *buf, uint8_t buf_len, char *key)
{
	if ((v.val1 == reading_error.val1) && (v.val2 == reading_error.val2)) {
		buf[0] = '\0';
	} else {
		snprintk(buf, buf_len, ",\"%s\":%d.%06d", key, v.val1, abs(v.val2));
	}
}

static void batch_upload_to_golioth(void)
{
	uint32_t msg_cnt = k_msgq_num_used_get(&coldchain_msgq);

	if (msg_cnt == 0) {
		return;
	}

	LOG_INF("Uploading cached data to Golioth");

	/* Packets will be no larger than 1024 characters
	 *
	 * {"lat":-90.123456,"lon":-180.123456,"time":"2023-09-18T22:52:42.000Z","tem":-100.123456,
	 *  "pre":-100.123456,"hum":-100.123456}"
	 *
	 * Round up for the comma, and overall open/close bracket.
	 * Size the overall buffer to be smaller than 1024 which is most efficient for Golioth
	 */
	static const char r_fmt[] = "{\"lat\":%f,\"lon\":%f,\""
				    "time\":\"20%02d-%02d-%02dT%02d:%02d:%02d.%03dZ\""
				    "%s%s%s}";
	const uint8_t r_maxlen = 128;
	const uint16_t buf_len = 1000;
	uint16_t remaining_len;
	uint16_t tot_pushed = 0;
	char buf[buf_len];
	struct cold_chain_data cached_data;

	snprintk(buf, sizeof(buf), "%s", "[");

	while (msg_cnt > 0) {
		int err = k_msgq_get(&coldchain_msgq, &cached_data, K_MSEC(10));

		if (err) {
			LOG_ERR("Error fetching cached reading: %d", err);
			return;
		}

		char tem_str[19], pre_str[19], hum_str[19];

		get_sensor_string_or_empty(cached_data.tem, tem_str, sizeof(tem_str), "tem");
		get_sensor_string_or_empty(cached_data.pre, pre_str, sizeof(pre_str), "pre");
		get_sensor_string_or_empty(cached_data.hum, hum_str, sizeof(hum_str), "hum");

		snprintk(buf + strlen(buf), buf_len - strlen(buf), r_fmt,
			 minmea_tocoord(&cached_data.frame.latitude),
			 minmea_tocoord(&cached_data.frame.longitude),
			 cached_data.frame.date.year, cached_data.frame.date.month,
			 cached_data.frame.date.day, cached_data.frame.time.hours,
			 cached_data.frame.time.minutes, cached_data.frame.time.seconds,
			 cached_data.frame.time.microseconds,
			 tem_str, pre_str, hum_str);

		msg_cnt = k_msgq_num_used_get(&coldchain_msgq);
		remaining_len = sizeof(buf) - strlen(buf) - 1;
		tot_pushed++;

		if (msg_cnt == 0 || remaining_len < r_maxlen) {
			snprintk(buf + strlen(buf), sizeof(buf) - strlen(buf), "%s", "]");
			int err = golioth_stream_push(client, GPS_ENDP,
						      GOLIOTH_CONTENT_FORMAT_APP_JSON,
						      buf, strlen(buf));

			if (err) {
				LOG_ERR("Failed to send sensor data to Golioth: %d", err);
				return;
			}

			if (msg_cnt) {
				snprintk(buf, sizeof(buf), "%s", "[");
			}
		} else {
			snprintk(buf + strlen(buf), buf_len - strlen(buf), "%s", ",");
		}
	}

	LOG_INF("Pushed %d cached readings up to Golioth.", tot_pushed);
}

/* This will be called by the main() loop */
/* Do all of your work here! */
void app_work_sensor_read(void)
{
	IF_ENABLED(CONFIG_ALUDEL_BATTERY_MONITOR, (
		read_and_report_battery();
		IF_ENABLED(CONFIG_LIB_OSTENTUS, (
			slide_set(BATTERY_V, get_batt_v_str(), strlen(get_batt_v_str()));
			slide_set(BATTERY_LVL, get_batt_lvl_str(), strlen(get_batt_lvl_str()));
		));
	));

	if (golioth_is_connected(client)) {
		batch_upload_to_golioth();
	}
}

void app_work_init(struct golioth_client *work_client)
{
	LOG_INF("Initializing UART");
	client = work_client;

	int err = gpio_pin_configure_dt(&gnss7_sel, GPIO_OUTPUT_ACTIVE);

	if (err < 0) {
		LOG_ERR("Unable to configure GNSS SEL Pin: %d", err);
	}

	/* configure interrupt and callback to receive data */
	uart_irq_callback_user_data_set(uart_dev, serial_cb, NULL);
	uart_irq_rx_enable(uart_dev);

	weather_dev = get_bme280_device();
	weather_sensor_data_fetch();
}
```

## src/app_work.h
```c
/*
 * Copyright (c) 2022 Golioth, Inc.
 *
 * SPDX-License-Identifier: Apache-2.0
 */

#ifndef __APP_WORK_H__
#define __APP_WORK_H__

#include <net/golioth/system_client.h>

void app_work_init(struct golioth_client *work_client);
void app_work_sensor_read(void);

#define LABEL_LAT	"Latitude"
#define LABEL_LON	"Longitude"
#define LABEL_TEM	"Temperature"
#define LABEL_BATTERY	"Battery"
#define LABEL_FIRMWARE	"Firmware"
#define SUMMARY_TITLE	"Cold Chain"

/**
 * Each Ostentus slide needs a unique key. You may add additional slides by
 * inserting elements with the name of your choice to this enum.
 */
typedef enum {
	SLIDE_LAT,
	SLIDE_LON,
	SLIDE_TEM,
#ifdef CONFIG_ALUDEL_BATTERY_MONITOR
	BATTERY_V,
	BATTERY_LVL,
#endif
	FIRMWARE
} slide_key;

#endif /* __APP_WORK_H__ */
```
